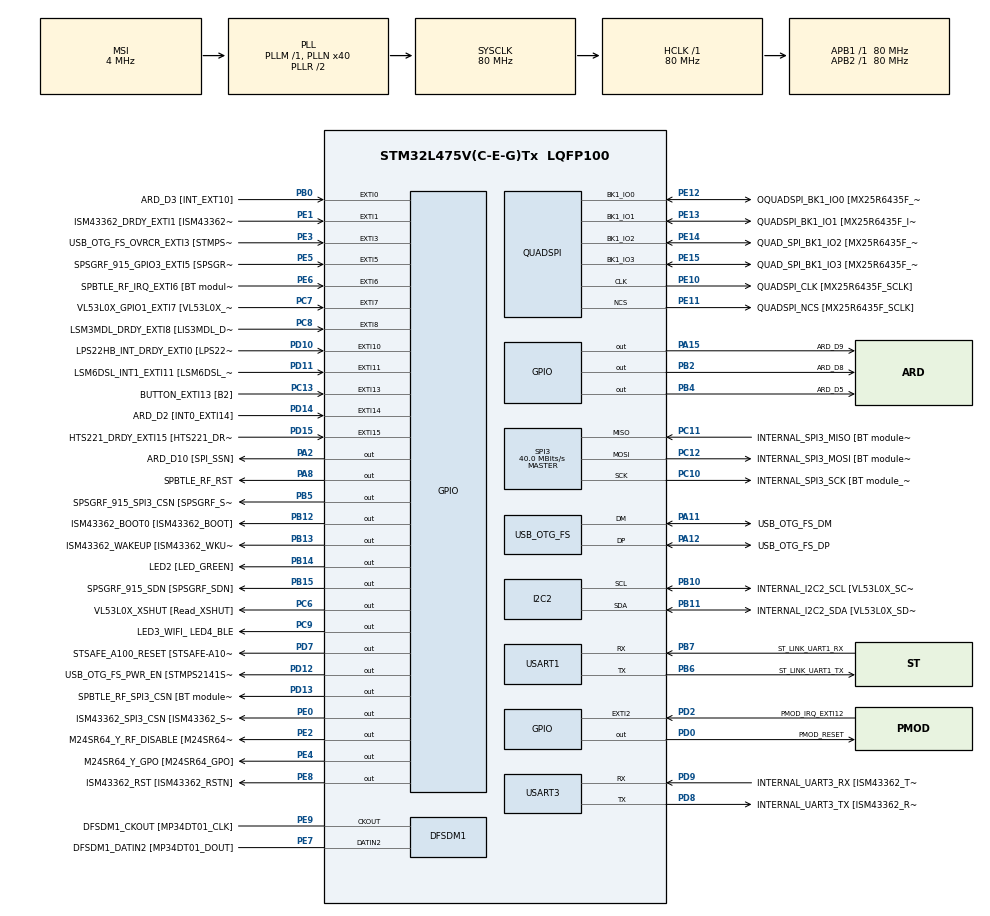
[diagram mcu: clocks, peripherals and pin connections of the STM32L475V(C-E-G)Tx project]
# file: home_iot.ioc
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FREERTOS.Tasks01=defaultTask,24,128,StartDefaultTask,Default,NULL,Dynamic,NULL,NULL;humidityTask,8,128,StartHumidityTask,Default,NULL,Dynamic,NULL,NULL
FREERTOS.configUSE_NEWLIB_REENTRANT=1
Mcu.Family=STM32L4
Mcu.Name=STM32L475V(C-E-G)Tx
Mcu.Package=LQFP100
NVIC.EXTI15_10_IRQn=true\:5\:0\:false\:false\:true\:true\:true\:true
NVIC.EXTI9_5_IRQn=true\:5\:0\:false\:false\:true\:true\:true\:true
NVIC.PriorityGroup=NVIC_PRIORITYGROUP_4
NVIC.TIM1_TRG_COM_TIM17_IRQn=true\:15\:0\:false\:false\:true\:false\:false\:true
NVIC.TimeBase=TIM1_TRG_COM_TIM17_IRQn
NVIC.TimeBaseIP=TIM17
PA0.GPIO_Label=ARD_D1 [UART4_TX]
PA0.Signal=UART4_TX
PA1.GPIO_Label=ARD_D0 [UART4_RX]
PA1.Signal=UART4_RX
PA10.GPIO_Label=USB_OTG_FS_ID
PA10.Signal=USB_OTG_FS_ID
PA11.GPIO_Label=USB_OTG_FS_DM
PA11.Mode=Device_Only
PA11.Signal=USB_OTG_FS_DM
PA12.GPIO_Label=USB_OTG_FS_DP
PA12.Mode=Device_Only
PA12.Signal=USB_OTG_FS_DP
PA13\ (JTMS-SWDIO).GPIO_Label=SYS_JTMS_SWDIO
PA13\ (JTMS-SWDIO).Mode=Serial_Wire
PA13\ (JTMS-SWDIO).Signal=SYS_JTMS-SWDIO
PA14\ (JTCK-SWCLK).GPIO_Label=SYS_JTCK_SWCLK
PA14\ (JTCK-SWCLK).Mode=Serial_Wire
PA14\ (JTCK-SWCLK).Signal=SYS_JTCK-SWCLK
PA15\ (JTDI).GPIO_Label=ARD_D9
PA15\ (JTDI).Signal=GPIO_Output
PA2.GPIO_Label=ARD_D10 [SPI_SSN]
PA2.Signal=GPIO_Output
PA3.GPIO_Label=ARD_D4
PA3.Signal=S_TIM2_CH4
PA4.GPIO_Label=ARD_D7
PA4.Signal=ADCx_IN9
PA5.GPIO_Label=ARD_D13 [SPI1_SCK]
PA5.Signal=SPI1_SCK
PA6.GPIO_Label=ARD_D12 [SPI1_MISO]
PA6.Signal=SPI1_MISO
PA7.GPIO_Label=ARD_D11 [SPI1_MOSI]
PA7.Signal=SPI1_MOSI
PA8.GPIO_Label=SPBTLE_RF_RST
PA8.Signal=GPIO_Output
PA9.GPIO_Label=USB_OTG_FS_VBUS [STMPS2141STR_OUT]
PA9.Signal=USB_OTG_FS_VBUS
PB0.GPIO_Label=ARD_D3 [INT_EXT10]
PB0.Signal=GPXTI0
PB1.GPIO_Label=ARD_D6 [ADC1_IN6]
PB1.Signal=ADCx_IN16
PB10.GPIO_Label=INTERNAL_I2C2_SCL [VL53L0X_SCL]
PB10.GPIO_Pu=GPIO_PULLUP
PB10.Mode=I2C
PB10.Signal=I2C2_SCL
PB11.GPIO_Label=INTERNAL_I2C2_SDA [VL53L0X_SDA]
PB11.GPIO_Pu=GPIO_PULLUP
PB11.Mode=I2C
PB11.Signal=I2C2_SDA
PB12.GPIO_Label=ISM43362_BOOT0 [ISM43362_BOOT]
PB12.Signal=GPIO_Output
PB13.GPIO_Label=ISM43362_WAKEUP [ISM43362_WKUP]
PB13.Signal=GPIO_Output
PB14.GPIO_Label=LED2 [LED_GREEN]
PB14.Signal=GPIO_Output
PB15.GPIO_Label=SPSGRF_915_SDN [SPSGRF_SDN]
PB15.Signal=GPIO_Output
PB2.GPIO_Label=ARD_D8
PB2.Signal=GPIO_Output
PB3\ (JTDO-TRACESWO).GPIO_Label=SYS_JTD0_SWO
PB3\ (JTDO-TRACESWO).Signal=SYS_JTDO-SWO
PB4\ (NJTRST).GPIO_Label=ARD_D5
PB4\ (NJTRST).Signal=GPIO_Output
PB5.GPIO_Label=SPSGRF_915_SPI3_CSN [SPSGRF_SPI_CS]
PB5.PinState=GPIO_PIN_SET
PB5.Signal=GPIO_Output
PB6.GPIO_Label=ST_LINK_UART1_TX
PB6.Mode=Asynchronous
PB6.Signal=USART1_TX
PB7.GPIO_Label=ST_LINK_UART1_RX
PB7.Mode=Asynchronous
PB7.Signal=USART1_RX
PB8.GPIO_Label=ARD_D15 [I2C1_SCL]
PB8.Signal=I2C1_SCL
PB9.GPIO_Label=ARD_D14 [I2C1_SDA]
PB9.Signal=I2C1_SDA
PC0.GPIO_Label=ARD_A5 [ADC]
PC0.Signal=ADCx_IN1
PC1.GPIO_Label=ARD_A4 [ADC]
PC1.Signal=ADCx_IN2
PC10.GPIO_Label=INTERNAL_SPI3_SCK [BT module_SPI_SCLK] [ISM43362_SCK]
PC10.Mode=Full_Duplex_Master
PC10.Signal=SPI3_SCK
PC11.GPIO_Label=INTERNAL_SPI3_MISO [BT module_SPI_MISO] [ISM43362_MISO]
PC11.Mode=Full_Duplex_Master
PC11.Signal=SPI3_MISO
PC12.GPIO_Label=INTERNAL_SPI3_MOSI [BT module_SPI_MOSI] [ISM43362_MOSI]
PC12.Mode=Full_Duplex_Master
PC12.Signal=SPI3_MOSI
PC13.GPIO_Label=BUTTON_EXTI13 [B2]
PC13.GPIO_ModeDefaultEXTI=GPIO_MODE_IT_FALLING
PC13.Signal=GPXTI13
PC14-OSC32_IN\ (PC14).Mode=LSE-External-Oscillator
PC14-OSC32_IN\ (PC14).Signal=RCC_OSC32_IN
PC15-OSC32_OUT\ (PC15).Mode=LSE-External-Oscillator
PC15-OSC32_OUT\ (PC15).Signal=RCC_OSC32_OUT
PC2.GPIO_Label=ARD_A3 [ADC]
PC2.Signal=ADCx_IN3
PC3.GPIO_Label=ARD_A2 [ADC]
PC3.Signal=ADCx_IN4
PC4.GPIO_Label=ARD_A1 [ADC]
PC4.Signal=ADCx_IN13
PC5.GPIO_Label=ARD_A0 [ADC]
PC5.Signal=ADCx_IN14
PC6.GPIO_Label=VL53L0X_XSHUT [Read_XSHUT]
PC6.Signal=GPIO_Output
PC7.GPIO_Label=VL53L0X_GPIO1_EXTI7 [VL53L0X_GPIO1]
PC7.Signal=GPXTI7
PC8.GPIO_Label=LSM3MDL_DRDY_EXTI8 [LIS3MDL_DRDY]
PC8.Signal=GPXTI8
PC9.GPIO_Label=LED3_WIFI_ LED4_BLE
PC9.Signal=GPIO_Output
PD0.GPIO_Label=PMOD_RESET
PD0.Signal=GPIO_Output
PD1.GPIO_Label=PMOD_SPI2_SCK
PD1.Signal=SPI2_SCK
PD10.GPIO_Label=LPS22HB_INT_DRDY_EXTI0 [LPS22HB_INT_DRDY] 
PD10.Signal=GPXTI10
PD11.GPIO_Label=LSM6DSL_INT1_EXTI11 [LSM6DSL_INT1]
PD11.Signal=GPXTI11
PD12.GPIO_Label=USB_OTG_FS_PWR_EN [STMPS2141STR_EN]
PD12.Signal=GPIO_Output
PD13.GPIO_Label=SPBTLE_RF_SPI3_CSN [BT module_SPI_CS]
PD13.PinState=GPIO_PIN_SET
PD13.Signal=GPIO_Output
PD14.GPIO_Label=ARD_D2 [INT0_EXTI14]
PD14.Signal=GPXTI14
PD15.GPIO_Label=HTS221_DRDY_EXTI15 [HTS221_DRDY]
PD15.Signal=GPXTI15
PD2.GPIO_Label=PMOD_IRQ_EXTI12
PD2.Signal=GPXTI2
PD3.GPIO_Label=PMOD_UART2_CTS
PD3.Signal=USART2_CTS
PD4.GPIO_Label=PMOD_UART2_RTS
PD4.Signal=USART2_RTS
PD5.GPIO_Label=PMOD_UART2_TX
PD5.Signal=USART2_TX
PD6.GPIO_Label=PMOD_UART2_RX
PD6.Signal=USART2_RX
PD7.GPIO_Label=STSAFE_A100_RESET [STSAFE-A100_RESET]
PD7.Signal=GPIO_Output
PD8.GPIO_Label=INTERNAL_UART3_TX [ISM43362_RX]
PD8.Mode=Asynchronous
PD8.Signal=USART3_TX
PD9.GPIO_Label=INTERNAL_UART3_RX [ISM43362_TX]
PD9.Mode=Asynchronous
PD9.Signal=USART3_RX
PE0.GPIO_Label=ISM43362_SPI3_CSN [ISM43362_SSN]
PE0.PinState=GPIO_PIN_SET
PE0.Signal=GPIO_Output
PE1.GPIO_Label=ISM43362_DRDY_EXTI1 [ISM43362_DATARDY]
PE1.Signal=GPXTI1
PE10.GPIO_Label=QUADSPI_CLK [MX25R6435F_SCLK]
PE10.Mode=Single Bank
PE10.Signal=QUADSPI_CLK
PE11.GPIO_Label=QUADSPI_NCS [MX25R6435F_SCLK]
PE11.Mode=Single Bank
PE11.Signal=QUADSPI_NCS
PE12.GPIO_Label=OQUADSPI_BK1_IO0 [MX25R6435F_IO0]
PE12.Mode=Single Bank
PE12.Signal=QUADSPI_BK1_IO0
PE13.GPIO_Label=QUADSPI_BK1_IO1 [MX25R6435F_IO1]
PE13.Mode=Single Bank
PE13.Signal=QUADSPI_BK1_IO1
PE14.GPIO_Label=QUAD_SPI_BK1_IO2 [MX25R6435F_IO2]
PE14.Mode=Single Bank
PE14.Signal=QUADSPI_BK1_IO2
PE15.GPIO_Label=QUAD_SPI_BK1_IO3 [MX25R6435F_IO3]
PE15.Mode=Single Bank
PE15.Signal=QUADSPI_BK1_IO3
PE2.GPIO_Label=M24SR64_Y_RF_DISABLE [M24SR64_RFDIS]
PE2.Signal=GPIO_Output
PE3.GPIO_Label=USB_OTG_FS_OVRCR_EXTI3 [STMPS2141STR_FAULT]
PE3.Signal=GPXTI3
PE4.GPIO_Label=M24SR64_Y_GPO [M24SR64_GPO]
PE4.Signal=GPIO_Output
PE5.GPIO_Label=SPSGRF_915_GPIO3_EXTI5 [SPSGRF_GPIO_3]
PE5.Signal=GPXTI5
PE6.GPIO_Label=SPBTLE_RF_IRQ_EXTI6 [BT module_SPI_IRQ]
PE6.Signal=GPXTI6
PE7.GPIO_Label=DFSDM1_DATIN2 [MP34DT01_DOUT]
PE7.Signal=S_DATAIN2DFSDM1
PE8.GPIO_Label=ISM43362_RST [ISM43362_RSTN]
PE8.Signal=GPIO_Output
PE9.GPIO_Label=DFSDM1_CKOUT [MP34DT01_CLK]
PE9.Signal=S_CKOUTDFSDM1
ProjectManager.HeapSize=0x200
ProjectManager.StackSize=0x400
ProjectManager.TargetToolchain=STM32CubeIDE
QUADSPI.ClockPrescaler=2
QUADSPI.FifoThreshold=4
QUADSPI.FlashSize=23
QUADSPI.SampleShifting=QSPI_SAMPLE_SHIFTING_HALFCYCLE
RCC.ADCFreq_Value=48000000
RCC.AHBFreq_Value=80000000
RCC.APB1Freq_Value=80000000
RCC.APB1TimFreq_Value=80000000
RCC.APB2Freq_Value=80000000
RCC.APB2TimFreq_Value=80000000
RCC.CortexFreq_Value=80000000
RCC.HCLKFreq_Value=80000000
RCC.HSE_VALUE=8000000
RCC.HSI_VALUE=16000000
RCC.MSI_VALUE=4000000
RCC.PLLN=40
RCC.PLLSAI1N=24
RCC.SYSCLKFreq_VALUE=80000000
RCC.SYSCLKSource=RCC_SYSCLKSOURCE_PLLCLK
RCC.USBFreq_Value=48000000
RCC.VCOOutputFreq_Value=160000000
SH.ADCx_IN1.0=ADC1_IN1
SH.ADCx_IN13.0=ADC1_IN13
SH.ADCx_IN14.0=ADC1_IN14
SH.ADCx_IN16.0=ADC1_IN16
SH.ADCx_IN2.0=ADC1_IN2
SH.ADCx_IN3.0=ADC1_IN3
SH.ADCx_IN4.0=ADC1_IN4
SH.ADCx_IN9.0=ADC1_IN9
SH.S_CKOUTDFSDM1.0=DFSDM1_CKOUT,CKOUT
SH.S_CKOUTDFSDM1.1=DFSDM1_CKOUT,PDM_SPI_Input_from_ch12_and_Internal_Clock
SH.S_DATAIN2DFSDM1.0=DFSDM1_DATIN2,PDM_SPI_Input_from_ch12_and_Internal_Clock
SH.S_TIM2_CH4.0=TIM2_CH4
SPI3.CalculateBaudRate=40.0 MBits/s
SPI3.Direction=SPI_DIRECTION_2LINES
SPI3.Mode=SPI_MODE_MASTER
SPI3.VirtualType=VM_MASTER
USART1.VirtualMode-Asynchronous=VM_ASYNC
USART3.VirtualMode-Asynchronous=VM_ASYNC
USB_OTG_FS.VirtualMode=Device_Only
VP_FREERTOS_VS_CMSIS_V2.Mode=CMSIS_V2
VP_SYS_VS_tim17.Mode=TIM17
board=B-L475E-IOT01A2

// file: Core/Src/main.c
/* USER CODE BEGIN Header */
/**
  ******************************************************************************
  * @file           : main.c
  * @brief          : Main program body
  ******************************************************************************
  * @attention
  *
  * <h2><center>&copy; Copyright (c) 2021 STMicroelectronics.
  * All rights reserved.</center></h2>
  *
  * This software component is licensed by ST under BSD 3-Clause license,
  * the "License"; You may not use this file except in compliance with the
  * License. You may obtain a copy of the License at:
  *                        opensource.org/licenses/BSD-3-Clause
  *
  ******************************************************************************
  */
/* USER CODE END Header */
#include "main.h"
#include "cmsis_os.h"

/* USER CODE BEGIN Includes */
#include <stdio.h>
#include <math.h>

#include "stm32l475e_iot01.h"
#include "stm32l475e_iot01_hsensor.h"
/* USER CODE END Includes */

DFSDM_Channel_HandleTypeDef hdfsdm1_channel1;

I2C_HandleTypeDef hi2c2;

QSPI_HandleTypeDef hqspi;

SPI_HandleTypeDef hspi3;

UART_HandleTypeDef huart1;
UART_HandleTypeDef huart3;

PCD_HandleTypeDef hpcd_USB_OTG_FS;

/* Definitions for defaultTask */
osThreadId_t defaultTaskHandle;
const osThreadAttr_t defaultTask_attributes = {
  .name = "defaultTask",
  .stack_size = 128 * 4,
  .priority = (osPriority_t) osPriorityNormal,
};
/* Definitions for humidityTask */
osThreadId_t humidityTaskHandle;
const osThreadAttr_t humidityTask_attributes = {
  .name = "humidityTask",
  .stack_size = 128 * 4,
  .priority = (osPriority_t) osPriorityLow,
};
/* USER CODE BEGIN PV */
float temp_value = 0;
/* USER CODE END PV */

void SystemClock_Config(void);
static void MX_GPIO_Init(void);
static void MX_DFSDM1_Init(void);
static void MX_I2C2_Init(void);
static void MX_QUADSPI_Init(void);
static void MX_SPI3_Init(void);
static void MX_USART1_UART_Init(void);
static void MX_USART3_UART_Init(void);
static void MX_USB_OTG_FS_PCD_Init(void);
void StartDefaultTask(void *argument);
void StartHumidityTask(void *argument);

/* USER CODE BEGIN 0 */
int _write(int file, char *ptr, int len)
{
  /* Implement your write code here, this is used by puts and printf for example */
  int i=0;
  for(i=0 ; i<len ; i++)
    ITM_SendChar((*ptr++));
  return len;
}
/* USER CODE END 0 */

int main(void)
{

  /* MCU Configuration--------------------------------------------------------*/

  /* Reset of all peripherals, Initializes the Flash interface and the Systick. */
  HAL_Init();

  /* Configure the system clock */
  SystemClock_Config();

  /* Initialize all configured peripherals */
  MX_GPIO_Init();
  MX_DFSDM1_Init();
  MX_I2C2_Init();
  MX_QUADSPI_Init();
  MX_SPI3_Init();
  MX_USART1_UART_Init();
  MX_USART3_UART_Init();
  MX_USB_OTG_FS_PCD_Init();
  /* USER CODE BEGIN 2 */
  BSP_HSENSOR_Init();
  /* USER CODE END 2 */

  /* Init scheduler */
  osKernelInitialize();

  /* Create the thread(s) */
  /* creation of defaultTask */
  defaultTaskHandle = osThreadNew(StartDefaultTask, NULL, &defaultTask_attributes);

  /* creation of humidityTask */
  humidityTaskHandle = osThreadNew(StartHumidityTask, NULL, &humidityTask_attributes);

  /* Start scheduler */
  osKernelStart();

  /* We should never get here as control is now taken by the scheduler */
  /* Infinite loop */
  while (1)
  {

  }
}

void SystemClock_Config(void)
{
  RCC_OscInitTypeDef RCC_OscInitStruct = {0};
  RCC_ClkInitTypeDef RCC_ClkInitStruct = {0};

  /** Configure the main internal regulator output voltage
  */
  if (HAL_PWREx_ControlVoltageScaling(PWR_REGULATOR_VOLTAGE_SCALE1) != HAL_OK)
  {
    Error_Handler();
  }
  /** Configure LSE Drive Capability
  */
  HAL_PWR_EnableBkUpAccess();
  __HAL_RCC_LSEDRIVE_CONFIG(RCC_LSEDRIVE_LOW);
  /** Initializes the RCC Oscillators according to the specified parameters
  * in the RCC_OscInitTypeDef structure.
  */
  RCC_OscInitStruct.OscillatorType = RCC_OSCILLATORTYPE_LSE|RCC_OSCILLATORTYPE_MSI;
  RCC_OscInitStruct.LSEState = RCC_LSE_ON;
  RCC_OscInitStruct.MSIState = RCC_MSI_ON;
  RCC_OscInitStruct.MSICalibrationValue = 0;
  RCC_OscInitStruct.MSIClockRange = RCC_MSIRANGE_6;
  RCC_OscInitStruct.PLL.PLLState = RCC_PLL_ON;
  RCC_OscInitStruct.PLL.PLLSource = RCC_PLLSOURCE_MSI;
  RCC_OscInitStruct.PLL.PLLM = 1;
  RCC_OscInitStruct.PLL.PLLN = 40;
  RCC_OscInitStruct.PLL.PLLP = RCC_PLLP_DIV7;
  RCC_OscInitStruct.PLL.PLLQ = RCC_PLLQ_DIV2;
  RCC_OscInitStruct.PLL.PLLR = RCC_PLLR_DIV2;
  if (HAL_RCC_OscConfig(&RCC_OscInitStruct) != HAL_OK)
  {
    Error_Handler();
  }
  /** Initializes the CPU, AHB and APB buses clocks
  */
  RCC_ClkInitStruct.ClockType = RCC_CLOCKTYPE_HCLK|RCC_CLOCKTYPE_SYSCLK
                              |RCC_CLOCKTYPE_PCLK1|RCC_CLOCKTYPE_PCLK2;
  RCC_ClkInitStruct.SYSCLKSource = RCC_SYSCLKSOURCE_PLLCLK;
  RCC_ClkInitStruct.AHBCLKDivider = RCC_SYSCLK_DIV1;
  RCC_ClkInitStruct.APB1CLKDivider = RCC_HCLK_DIV1;
  RCC_ClkInitStruct.APB2CLKDivider = RCC_HCLK_DIV1;

  if (HAL_RCC_ClockConfig(&RCC_ClkInitStruct, FLASH_LATENCY_4) != HAL_OK)
  {
    Error_Handler();
  }
  /** Enable MSI Auto calibration
  */
  HAL_RCCEx_EnableMSIPLLMode();
}

static void MX_DFSDM1_Init(void)
{

  hdfsdm1_channel1.Instance = DFSDM1_Channel1;
  hdfsdm1_channel1.Init.OutputClock.Activation = ENABLE;
  hdfsdm1_channel1.Init.OutputClock.Selection = DFSDM_CHANNEL_OUTPUT_CLOCK_SYSTEM;
  hdfsdm1_channel1.Init.OutputClock.Divider = 2;
  hdfsdm1_channel1.Init.Input.Multiplexer = DFSDM_CHANNEL_EXTERNAL_INPUTS;
  hdfsdm1_channel1.Init.Input.DataPacking = DFSDM_CHANNEL_STANDARD_MODE;
  hdfsdm1_channel1.Init.Input.Pins = DFSDM_CHANNEL_FOLLOWING_CHANNEL_PINS;
  hdfsdm1_channel1.Init.SerialInterface.Type = DFSDM_CHANNEL_SPI_RISING;
  hdfsdm1_channel1.Init.SerialInterface.SpiClock = DFSDM_CHANNEL_SPI_CLOCK_INTERNAL;
  hdfsdm1_channel1.Init.Awd.FilterOrder = DFSDM_CHANNEL_FASTSINC_ORDER;
  hdfsdm1_channel1.Init.Awd.Oversampling = 1;
  hdfsdm1_channel1.Init.Offset = 0;
  hdfsdm1_channel1.Init.RightBitShift = 0x00;
  if (HAL_DFSDM_ChannelInit(&hdfsdm1_channel1) != HAL_OK)
  {
    Error_Handler();
  }

}

static void MX_I2C2_Init(void)
{

  hi2c2.Instance = I2C2;
  hi2c2.Init.Timing = 0x00000E14;
  hi2c2.Init.OwnAddress1 = 0;
  hi2c2.Init.AddressingMode = I2C_ADDRESSINGMODE_7BIT;
  hi2c2.Init.DualAddressMode = I2C_DUALADDRESS_DISABLE;
  hi2c2.Init.OwnAddress2 = 0;
  hi2c2.Init.OwnAddress2Masks = I2C_OA2_NOMASK;
  hi2c2.Init.GeneralCallMode = I2C_GENERALCALL_DISABLE;
  hi2c2.Init.NoStretchMode = I2C_NOSTRETCH_DISABLE;
  if (HAL_I2C_Init(&hi2c2) != HAL_OK)
  {
    Error_Handler();
  }
  /** Configure Analogue filter
  */
  if (HAL_I2CEx_ConfigAnalogFilter(&hi2c2, I2C_ANALOGFILTER_ENABLE) != HAL_OK)
  {
    Error_Handler();
  }
  /** Configure Digital filter
  */
  if (HAL_I2CEx_ConfigDigitalFilter(&hi2c2, 0) != HAL_OK)
  {
    Error_Handler();
  }

}

static void MX_QUADSPI_Init(void)
{

  /* QUADSPI parameter configuration*/
  hqspi.Instance = QUADSPI;
  hqspi.Init.ClockPrescaler = 2;
  hqspi.Init.FifoThreshold = 4;
  hqspi.Init.SampleShifting = QSPI_SAMPLE_SHIFTING_HALFCYCLE;
  hqspi.Init.FlashSize = 23;
  hqspi.Init.ChipSelectHighTime = QSPI_CS_HIGH_TIME_1_CYCLE;
  hqspi.Init.ClockMode = QSPI_CLOCK_MODE_0;
  if (HAL_QSPI_Init(&hqspi) != HAL_OK)
  {
    Error_Handler();
  }

}

static void MX_SPI3_Init(void)
{

  /* SPI3 parameter configuration*/
  hspi3.Instance = SPI3;
  hspi3.Init.Mode = SPI_MODE_MASTER;
  hspi3.Init.Direction = SPI_DIRECTION_2LINES;
  hspi3.Init.DataSize = SPI_DATASIZE_4BIT;
  hspi3.Init.CLKPolarity = SPI_POLARITY_LOW;
  hspi3.Init.CLKPhase = SPI_PHASE_1EDGE;
  hspi3.Init.NSS = SPI_NSS_SOFT;
  hspi3.Init.BaudRatePrescaler = SPI_BAUDRATEPRESCALER_2;
  hspi3.Init.FirstBit = SPI_FIRSTBIT_MSB;
  hspi3.Init.TIMode = SPI_TIMODE_DISABLE;
  hspi3.Init.CRCCalculation = SPI_CRCCALCULATION_DISABLE;
  hspi3.Init.CRCPolynomial = 7;
  hspi3.Init.CRCLength = SPI_CRC_LENGTH_DATASIZE;
  hspi3.Init.NSSPMode = SPI_NSS_PULSE_ENABLE;
  if (HAL_SPI_Init(&hspi3) != HAL_OK)
  {
    Error_Handler();
  }

}

static void MX_USART1_UART_Init(void)
{

  huart1.Instance = USART1;
  huart1.Init.BaudRate = 115200;
  huart1.Init.WordLength = UART_WORDLENGTH_8B;
  huart1.Init.StopBits = UART_STOPBITS_1;
  huart1.Init.Parity = UART_PARITY_NONE;
  huart1.Init.Mode = UART_MODE_TX_RX;
  huart1.Init.HwFlowCtl = UART_HWCONTROL_NONE;
  huart1.Init.OverSampling = UART_OVERSAMPLING_16;
  huart1.Init.OneBitSampling = UART_ONE_BIT_SAMPLE_DISABLE;
  huart1.AdvancedInit.AdvFeatureInit = UART_ADVFEATURE_NO_INIT;
  if (HAL_UART_Init(&huart1) != HAL_OK)
  {
    Error_Handler();
  }

}

static void MX_USART3_UART_Init(void)
{

  huart3.Instance = USART3;
  huart3.Init.BaudRate = 115200;
  huart3.Init.WordLength = UART_WORDLENGTH_8B;
  huart3.Init.StopBits = UART_STOPBITS_1;
  huart3.Init.Parity = UART_PARITY_NONE;
  huart3.Init.Mode = UART_MODE_TX_RX;
  huart3.Init.HwFlowCtl = UART_HWCONTROL_NONE;
  huart3.Init.OverSampling = UART_OVERSAMPLING_16;
  huart3.Init.OneBitSampling = UART_ONE_BIT_SAMPLE_DISABLE;
  huart3.AdvancedInit.AdvFeatureInit = UART_ADVFEATURE_NO_INIT;
  if (HAL_UART_Init(&huart3) != HAL_OK)
  {
    Error_Handler();
  }

}

static void MX_USB_OTG_FS_PCD_Init(void)
{

  hpcd_USB_OTG_FS.Instance = USB_OTG_FS;
  hpcd_USB_OTG_FS.Init.dev_endpoints = 6;
  hpcd_USB_OTG_FS.Init.speed = PCD_SPEED_FULL;
  hpcd_USB_OTG_FS.Init.phy_itface = PCD_PHY_EMBEDDED;
  hpcd_USB_OTG_FS.Init.Sof_enable = DISABLE;
  hpcd_USB_OTG_FS.Init.low_power_enable = DISABLE;
  hpcd_USB_OTG_FS.Init.lpm_enable = DISABLE;
  hpcd_USB_OTG_FS.Init.battery_charging_enable = DISABLE;
  hpcd_USB_OTG_FS.Init.use_dedicated_ep1 = DISABLE;
  hpcd_USB_OTG_FS.Init.vbus_sensing_enable = DISABLE;
  if (HAL_PCD_Init(&hpcd_USB_OTG_FS) != HAL_OK)
  {
    Error_Handler();
  }

}

static void MX_GPIO_Init(void)
{
  GPIO_InitTypeDef GPIO_InitStruct = {0};

  /* GPIO Ports Clock Enable */
  __HAL_RCC_GPIOE_CLK_ENABLE();
  __HAL_RCC_GPIOC_CLK_ENABLE();
  __HAL_RCC_GPIOA_CLK_ENABLE();
  __HAL_RCC_GPIOB_CLK_ENABLE();
  __HAL_RCC_GPIOD_CLK_ENABLE();

  /*Configure GPIO pin Output Level */
  HAL_GPIO_WritePin(GPIOE, M24SR64_Y_RF_DISABLE_Pin|M24SR64_Y_GPO_Pin|ISM43362_RST_Pin, GPIO_PIN_RESET);

  /*Configure GPIO pin Output Level */
  HAL_GPIO_WritePin(GPIOA, ARD_D10_Pin|SPBTLE_RF_RST_Pin|ARD_D9_Pin, GPIO_PIN_RESET);

  /*Configure GPIO pin Output Level */
  HAL_GPIO_WritePin(GPIOB, ARD_D8_Pin|ISM43362_BOOT0_Pin|ISM43362_WAKEUP_Pin|LED2_Pin
                          |SPSGRF_915_SDN_Pin|ARD_D5_Pin, GPIO_PIN_RESET);

  /*Configure GPIO pin Output Level */
  HAL_GPIO_WritePin(GPIOD, USB_OTG_FS_PWR_EN_Pin|PMOD_RESET_Pin|STSAFE_A100_RESET_Pin, GPIO_PIN_RESET);

  /*Configure GPIO pin Output Level */
  HAL_GPIO_WritePin(SPBTLE_RF_SPI3_CSN_GPIO_Port, SPBTLE_RF_SPI3_CSN_Pin, GPIO_PIN_SET);

  /*Configure GPIO pin Output Level */
  HAL_GPIO_WritePin(GPIOC, VL53L0X_XSHUT_Pin|LED3_WIFI__LED4_BLE_Pin, GPIO_PIN_RESET);

  /*Configure GPIO pin Output Level */
  HAL_GPIO_WritePin(SPSGRF_915_SPI3_CSN_GPIO_Port, SPSGRF_915_SPI3_CSN_Pin, GPIO_PIN_SET);

  /*Configure GPIO pin Output Level */
  HAL_GPIO_WritePin(ISM43362_SPI3_CSN_GPIO_Port, ISM43362_SPI3_CSN_Pin, GPIO_PIN_SET);

  /*Configure GPIO pins : M24SR64_Y_RF_DISABLE_Pin M24SR64_Y_GPO_Pin ISM43362_RST_Pin ISM43362_SPI3_CSN_Pin */
  GPIO_InitStruct.Pin = M24SR64_Y_RF_DISABLE_Pin|M24SR64_Y_GPO_Pin|ISM43362_RST_Pin|ISM43362_SPI3_CSN_Pin;
  GPIO_InitStruct.Mode = GPIO_MODE_OUTPUT_PP;
  GPIO_InitStruct.Pull = GPIO_NOPULL;
  GPIO_InitStruct.Speed = GPIO_SPEED_FREQ_LOW;
  HAL_GPIO_Init(GPIOE, &GPIO_InitStruct);

  /*Configure GPIO pins : USB_OTG_FS_OVRCR_EXTI3_Pin SPSGRF_915_GPIO3_EXTI5_Pin SPBTLE_RF_IRQ_EXTI6_Pin ISM43362_DRDY_EXTI1_Pin */
  GPIO_InitStruct.Pin = USB_OTG_FS_OVRCR_EXTI3_Pin|SPSGRF_915_GPIO3_EXTI5_Pin|SPBTLE_RF_IRQ_EXTI6_Pin|ISM43362_DRDY_EXTI1_Pin;
  GPIO_InitStruct.Mode = GPIO_MODE_IT_RISING;
  GPIO_InitStruct.Pull = GPIO_NOPULL;
  HAL_GPIO_Init(GPIOE, &GPIO_InitStruct);

  /*Configure GPIO pin : BUTTON_EXTI13_Pin */
  GPIO_InitStruct.Pin = BUTTON_EXTI13_Pin;
  GPIO_InitStruct.Mode = GPIO_MODE_IT_FALLING;
  GPIO_InitStruct.Pull = GPIO_NOPULL;
  HAL_GPIO_Init(BUTTON_EXTI13_GPIO_Port, &GPIO_InitStruct);

  /*Configure GPIO pins : ARD_A5_Pin ARD_A4_Pin ARD_A3_Pin ARD_A2_Pin
                           ARD_A1_Pin ARD_A0_Pin */
  GPIO_InitStruct.Pin = ARD_A5_Pin|ARD_A4_Pin|ARD_A3_Pin|ARD_A2_Pin
                          |ARD_A1_Pin|ARD_A0_Pin;
  GPIO_InitStruct.Mode = GPIO_MODE_ANALOG_ADC_CONTROL;
  GPIO_InitStruct.Pull = GPIO_NOPULL;
  HAL_GPIO_Init(GPIOC, &GPIO_InitStruct);

  /*Configure GPIO pins : ARD_D1_Pin ARD_D0_Pin */
  GPIO_InitStruct.Pin = ARD_D1_Pin|ARD_D0_Pin;
  GPIO_InitStruct.Mode = GPIO_MODE_AF_PP;
  GPIO_InitStruct.Pull = GPIO_NOPULL;
  GPIO_InitStruct.Speed = GPIO_SPEED_FREQ_VERY_HIGH;
  GPIO_InitStruct.Alternate = GPIO_AF8_UART4;
  HAL_GPIO_Init(GPIOA, &GPIO_InitStruct);

  /*Configure GPIO pins : ARD_D10_Pin SPBTLE_RF_RST_Pin ARD_D9_Pin */
  GPIO_InitStruct.Pin = ARD_D10_Pin|SPBTLE_RF_RST_Pin|ARD_D9_Pin;
  GPIO_InitStruct.Mode = GPIO_MODE_OUTPUT_PP;
  GPIO_InitStruct.Pull = GPIO_NOPULL;
  GPIO_InitStruct.Speed = GPIO_SPEED_FREQ_LOW;
  HAL_GPIO_Init(GPIOA, &GPIO_InitStruct);

  /*Configure GPIO pin : ARD_D4_Pin */
  GPIO_InitStruct.Pin = ARD_D4_Pin;
  GPIO_InitStruct.Mode = GPIO_MODE_AF_PP;
  GPIO_InitStruct.Pull = GPIO_NOPULL;
  GPIO_InitStruct.Speed = GPIO_SPEED_FREQ_LOW;
  GPIO_InitStruct.Alternate = GPIO_AF1_TIM2;
  HAL_GPIO_Init(ARD_D4_GPIO_Port, &GPIO_InitStruct);

  /*Configure GPIO pin : ARD_D7_Pin */
  GPIO_InitStruct.Pin = ARD_D7_Pin;
  GPIO_InitStruct.Mode = GPIO_MODE_ANALOG_ADC_CONTROL;
  GPIO_InitStruct.Pull = GPIO_NOPULL;
  HAL_GPIO_Init(ARD_D7_GPIO_Port, &GPIO_InitStruct);

  /*Configure GPIO pins : ARD_D13_Pin ARD_D12_Pin ARD_D11_Pin */
  GPIO_InitStruct.Pin = ARD_D13_Pin|ARD_D12_Pin|ARD_D11_Pin;
  GPIO_InitStruct.Mode = GPIO_MODE_AF_PP;
  GPIO_InitStruct.Pull = GPIO_NOPULL;
  GPIO_InitStruct.Speed = GPIO_SPEED_FREQ_VERY_HIGH;
  GPIO_InitStruct.Alternate = GPIO_AF5_SPI1;
  HAL_GPIO_Init(GPIOA, &GPIO_InitStruct);

  /*Configure GPIO pin : ARD_D3_Pin */
  GPIO_InitStruct.Pin = ARD_D3_Pin;
  GPIO_InitStruct.Mode = GPIO_MODE_IT_RISING;
  GPIO_InitStruct.Pull = GPIO_NOPULL;
  HAL_GPIO_Init(ARD_D3_GPIO_Port, &GPIO_InitStruct);

  /*Configure GPIO pin : ARD_D6_Pin */
  GPIO_InitStruct.Pin = ARD_D6_Pin;
  GPIO_InitStruct.Mode = GPIO_MODE_ANALOG_ADC_CONTROL;
  GPIO_InitStruct.Pull = GPIO_NOPULL;
  HAL_GPIO_Init(ARD_D6_GPIO_Port, &GPIO_InitStruct);

  /*Configure GPIO pins : ARD_D8_Pin ISM43362_BOOT0_Pin ISM43362_WAKEUP_Pin LED2_Pin
                           SPSGRF_915_SDN_Pin ARD_D5_Pin SPSGRF_915_SPI3_CSN_Pin */
  GPIO_InitStruct.Pin = ARD_D8_Pin|ISM43362_BOOT0_Pin|ISM43362_WAKEUP_Pin|LED2_Pin
                          |SPSGRF_915_SDN_Pin|ARD_D5_Pin|SPSGRF_915_SPI3_CSN_Pin;
  GPIO_InitStruct.Mode = GPIO_MODE_OUTPUT_PP;
  GPIO_InitStruct.Pull = GPIO_NOPULL;
  GPIO_InitStruct.Speed = GPIO_SPEED_FREQ_LOW;
  HAL_GPIO_Init(GPIOB, &GPIO_InitStruct);

  /*Configure GPIO pins : LPS22HB_INT_DRDY_EXTI0_Pin LSM6DSL_INT1_EXTI11_Pin ARD_D2_Pin HTS221_DRDY_EXTI15_Pin
                           PMOD_IRQ_EXTI12_Pin */
  GPIO_InitStruct.Pin = LPS22HB_INT_DRDY_EXTI0_Pin|LSM6DSL_INT1_EXTI11_Pin|ARD_D2_Pin|HTS221_DRDY_EXTI15_Pin
                          |PMOD_IRQ_EXTI12_Pin;
  GPIO_InitStruct.Mode = GPIO_MODE_IT_RISING;
  GPIO_InitStruct.Pull = GPIO_NOPULL;
  HAL_GPIO_Init(GPIOD, &GPIO_InitStruct);

  /*Configure GPIO pins : USB_OTG_FS_PWR_EN_Pin SPBTLE_RF_SPI3_CSN_Pin PMOD_RESET_Pin STSAFE_A100_RESET_Pin */
  GPIO_InitStruct.Pin = USB_OTG_FS_PWR_EN_Pin|SPBTLE_RF_SPI3_CSN_Pin|PMOD_RESET_Pin|STSAFE_A100_RESET_Pin;
  GPIO_InitStruct.Mode = GPIO_MODE_OUTPUT_PP;
  GPIO_InitStruct.Pull = GPIO_NOPULL;
  GPIO_InitStruct.Speed = GPIO_SPEED_FREQ_LOW;
  HAL_GPIO_Init(GPIOD, &GPIO_InitStruct);

  /*Configure GPIO pins : VL53L0X_XSHUT_Pin LED3_WIFI__LED4_BLE_Pin */
  GPIO_InitStruct.Pin = VL53L0X_XSHUT_Pin|LED3_WIFI__LED4_BLE_Pin;
  GPIO_InitStruct.Mode = GPIO_MODE_OUTPUT_PP;
  GPIO_InitStruct.Pull = GPIO_NOPULL;
  GPIO_InitStruct.Speed = GPIO_SPEED_FREQ_LOW;
  HAL_GPIO_Init(GPIOC, &GPIO_InitStruct);

  /*Configure GPIO pins : VL53L0X_GPIO1_EXTI7_Pin LSM3MDL_DRDY_EXTI8_Pin */
  GPIO_InitStruct.Pin = VL53L0X_GPIO1_EXTI7_Pin|LSM3MDL_DRDY_EXTI8_Pin;
  GPIO_InitStruct.Mode = GPIO_MODE_IT_RISING;
  GPIO_InitStruct.Pull = GPIO_NOPULL;
  HAL_GPIO_Init(GPIOC, &GPIO_InitStruct);

  /*Configure GPIO pin : PMOD_SPI2_SCK_Pin */
  GPIO_InitStruct.Pin = PMOD_SPI2_SCK_Pin;
  GPIO_InitStruct.Mode = GPIO_MODE_AF_PP;
  GPIO_InitStruct.Pull = GPIO_NOPULL;
  GPIO_InitStruct.Speed = GPIO_SPEED_FREQ_VERY_HIGH;
  GPIO_InitStruct.Alternate = GPIO_AF5_SPI2;
  HAL_GPIO_Init(PMOD_SPI2_SCK_GPIO_Port, &GPIO_InitStruct);

  /*Configure GPIO pins : PMOD_UART2_CTS_Pin PMOD_UART2_RTS_Pin PMOD_UART2_TX_Pin PMOD_UART2_RX_Pin */
  GPIO_InitStruct.Pin = PMOD_UART2_CTS_Pin|PMOD_UART2_RTS_Pin|PMOD_UART2_TX_Pin|PMOD_UART2_RX_Pin;
  GPIO_InitStruct.Mode = GPIO_MODE_AF_PP;
  GPIO_InitStruct.Pull = GPIO_NOPULL;
  GPIO_InitStruct.Speed = GPIO_SPEED_FREQ_VERY_HIGH;
  GPIO_InitStruct.Alternate = GPIO_AF7_USART2;
  HAL_GPIO_Init(GPIOD, &GPIO_InitStruct);

  /*Configure GPIO pins : ARD_D15_Pin ARD_D14_Pin */
  GPIO_InitStruct.Pin = ARD_D15_Pin|ARD_D14_Pin;
  GPIO_InitStruct.Mode = GPIO_MODE_AF_OD;
  GPIO_InitStruct.Pull = GPIO_NOPULL;
  GPIO_InitStruct.Speed = GPIO_SPEED_FREQ_VERY_HIGH;
  GPIO_InitStruct.Alternate = GPIO_AF4_I2C1;
  HAL_GPIO_Init(GPIOB, &GPIO_InitStruct);

  /* EXTI interrupt init*/
  HAL_NVIC_SetPriority(EXTI9_5_IRQn, 5, 0);
  HAL_NVIC_EnableIRQ(EXTI9_5_IRQn);

  HAL_NVIC_SetPriority(EXTI15_10_IRQn, 5, 0);
  HAL_NVIC_EnableIRQ(EXTI15_10_IRQn);

}

void StartDefaultTask(void *argument)
{
  for(;;)
  {
    osDelay(1);
  }
}

void StartHumidityTask(void *argument)
{
  /* USER CODE BEGIN StartHumidityTask */
  /* Infinite loop */
  for(;;)
  {
    HAL_GPIO_TogglePin(LED2_GPIO_Port, LED2_Pin);

    temp_value = BSP_HSENSOR_ReadHumidity();
    int tmpInt1 = temp_value;
    float tmpFrac = temp_value - tmpInt1;
    int tmpInt2 = trunc(tmpFrac * 100);
    printf("HUMIDITY = %d.%02d\n", tmpInt1, tmpInt2);

    HAL_Delay(2000);
  }
  /* USER CODE END StartHumidityTask */
}

void HAL_TIM_PeriodElapsedCallback(TIM_HandleTypeDef *htim)
{
  if (htim->Instance == TIM17) {
    HAL_IncTick();
  }
}

void Error_Handler(void)
{
  __disable_irq();
  while (1)
  {
  }
}

/************************ (C) COPYRIGHT STMicroelectronics *****END OF FILE****/
